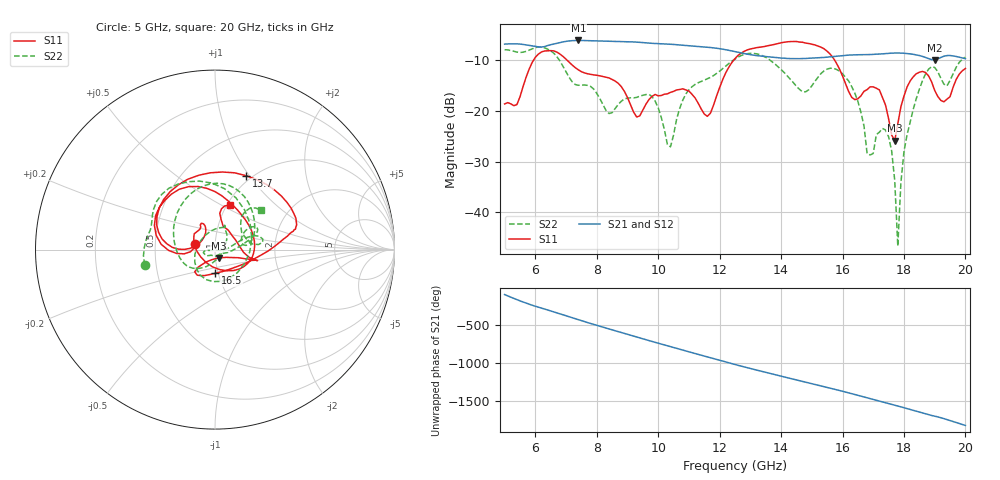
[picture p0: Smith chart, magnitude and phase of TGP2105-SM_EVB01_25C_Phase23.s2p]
! Date: Wednesday, June 05, 2013  1:50 PM
! Filename: C:\Data\Mike_Arnold\TGP2105-SM\Over_Temp\TGP2105-SM_EVB01_25C_Phase23.s2p
! Comments:
!^VDC(V):5.000
!^VDC(mA):0.109
!%Freq(GHz),S11(dB),S11(ang),S21(dB),S21(ang),S12(dB),S12(ang),S22(dB),S22(ang)
# GHz  S  DB  R  50
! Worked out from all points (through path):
!   151 points, 5 GHz to 20 GHz, reference 50 ohm
!   highest |S21| = -6.10 dB at 7.4 GHz (marker M1); lowest = -9.9 dB at 19 GHz (marker M2)
!   group delay of S21, straight-line fit = 307 ps
!   lowest |S11| = -25.8 dB at 17.7 GHz (marker M3), VSWR 1.11, Z = 52 - j4.8 ohm
!   |S11| at or under -10 dB: start of sweep to 5.942 GHz; 7.035 GHz to 12.46 GHz (5.422 GHz wide, 55.6 % of centre); 15.74 GHz to end of sweep
!   |S22| runs from -46.6 to -7.4 dB; largest |S21 - S12| = 0.0024
!   S11 on the Smith chart (normalised r, x): 5 GHz: 0.80, +0.05; 13.7 GHz: 0.94, +0.97; 16.5 GHz: 0.97, -0.26; 20 GHz: 1.03, +0.55
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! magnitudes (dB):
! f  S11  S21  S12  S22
! 5 GHz  -18.6  -6.8  -6.8  -7.9
! 6.2 GHz  -8.4  -7.4  -7.4  -7.4
! 7.4 GHz  -11.9  -6.1  -6.1  -14.9
! 7.5 GHz  -12.3  -6.1  -6.1  -14.9
! 9.3 GHz  -21.2  -6.4  -6.5  -17.3
! 10 GHz  -17.0  -6.7  -6.8  -19.4
! 10.4 GHz  -16.3  -6.9  -6.9  -27.1
! 10.9 GHz  -15.8  -7.1  -7.1  -16.6
! 11.6 GHz  -21.1  -7.4  -7.5  -13.7
! 12.5 GHz  -9.7  -8.3  -8.3  -9.8
! 13.7 GHz  -7.0  -9.4  -9.4  -10.3
! 15 GHz  -6.8  -9.6  -9.6  -15.1
! 15.7 GHz  -9.6  -9.3  -9.3  -11.6
! 16.5 GHz  -17.6  -8.9  -8.9  -18.1
! 16.8 GHz  -15.8  -8.9  -8.9  -28.4
! 17.5 GHz  -21.5  -8.6  -8.7  -25.1
! 17.7 GHz  -25.8  -8.6  -8.6  -33.7
! 17.8 GHz  -22.5  -8.6  -8.6  -46.6
! 17.9 GHz  -19.2  -8.6  -8.6  -34.2
! 18.1 GHz  -15.3  -8.7  -8.7  -24.7
! 19 GHz  -15.9  -9.9  -10.0  -11.4
! 20 GHz  -11.6  -9.7  -9.7  -9.4
